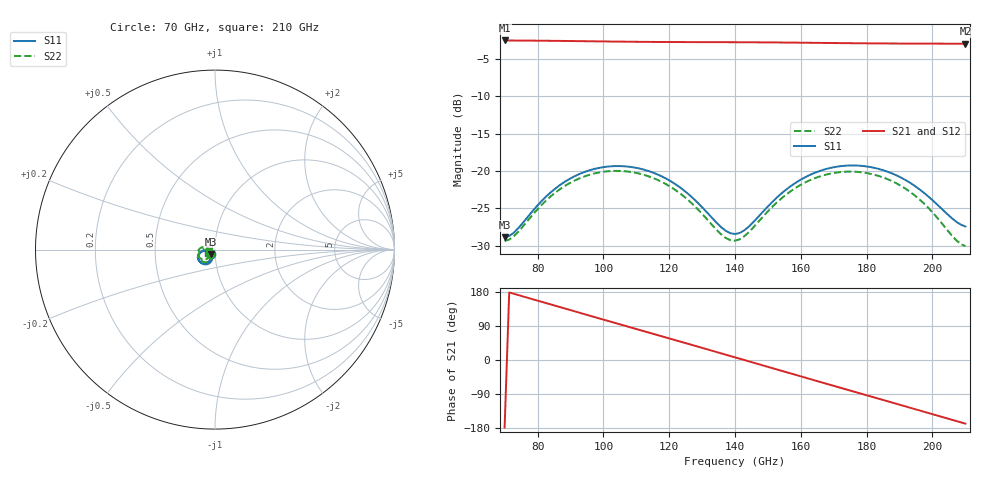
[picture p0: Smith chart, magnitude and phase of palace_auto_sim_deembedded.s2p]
! Created with skrf 1.11.0 (http://scikit-rf.org).
# GHz S DB R 50.0
!freq dBS11 angS11 dBS21 angS21 dBS12 angS12 dBS22 angS22
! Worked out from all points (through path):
!   101 points, 70 GHz to 210 GHz, reference 50 ohm
!   highest |S21| = -2.55 dB at 70 GHz (marker M1); lowest = -3.0 dB at 210 GHz (marker M2)
!   group delay of S21, straight-line fit = 6.94 ps
!   lowest |S11| = -28.9 dB at 70 GHz (marker M3), VSWR 1.07, Z = 47.5 - j2.47 ohm
!   |S11| at or under -10 dB: start of sweep to end of sweep
!   |S22| runs from -30.1 to -20.0 dB; largest |S21 - S12| = 8.6e-14
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70  -28.88 -133.9  -2.55 -178.3  -2.55 -178.3  -29.37 -138.3
72.8  -28.26 -120.3  -2.55 174.7  -2.55 174.7  -28.75 -125.1
81.2  -24.05 -107.0  -2.58 153.7  -2.58 153.7  -24.57 -113.0
86.8  -21.90 -111.6  -2.61 139.7  -2.61 139.7  -22.45 -118.3
93.8  -20.22 -122.2  -2.64 122.2  -2.64 122.2  -20.81 -129.7
105  -19.35 -142.2  -2.70 94.2  -2.70 94.2  -20.00 -151.0
110.6  -19.64 -152.2  -2.73 80.3  -2.73 80.3  -20.33 -161.6
117.6  -20.70 -163.3  -2.75 62.9  -2.75 62.9  -21.44 -173.5
128.8  -24.31 -172.6  -2.77 35.0  -2.77 35.0  -25.18 176.2
135.8  -27.53 -161.8  -2.78 17.5  -2.78 17.5  -28.50 -172.8
140  -28.44 -144.4  -2.78 7.0  -2.78 7.0  -29.34 -154.9
144.2  -27.45 -127.1  -2.79 -3.5  -2.79 -3.5  -28.20 -138.0
151.2  -24.21 -116.6  -2.81 -21.1  -2.81 -21.1  -24.86 -129.2
156.8  -22.08 -119.0  -2.83 -35.2  -2.83 -35.2  -22.75 -132.7
163.8  -20.33 -127.3  -2.86 -52.7  -2.86 -52.7  -21.05 -142.3
170.8  -19.45 -138.0  -2.89 -70.2  -2.89 -70.2  -20.22 -154.2
176.4  -19.27 -147.0  -2.92 -84.1  -2.92 -84.1  -20.11 -164.2
187.6  -20.32 -163.9  -2.95 -112.0  -2.95 -112.0  -21.34 176.7
194.6  -22.00 -171.3  -2.96 -129.5  -2.96 -129.5  -23.27 167.7
200.2  -23.99 -172.6  -2.97 -143.5  -2.97 -143.5  -25.64 165.3
207.2  -26.79 -161.6  -2.98 -161.0  -2.98 -161.0  -29.26 178.5
210  -27.44 -151.8  -2.99 -168.0  -2.99 -168.0  -30.07 -168.2
